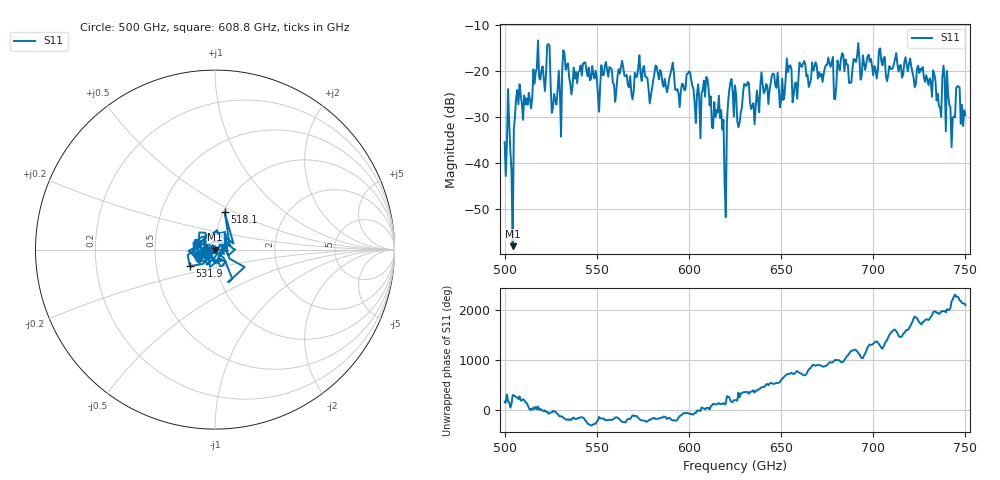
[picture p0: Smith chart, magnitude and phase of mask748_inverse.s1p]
!Created with skrf (http://scikit-rf.org).
# GHz S MA R 50.0
!freq magS11 angS11
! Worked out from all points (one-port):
!   401 points, 500 GHz to 750 GHz, reference 50 ohm
!   lowest |S11| = -58.0 dB at 504.4 GHz (marker M1), VSWR 1.00, Z = 50.1 - j0.107 ohm
!   |S11| at or under -10 dB: start of sweep to end of sweep
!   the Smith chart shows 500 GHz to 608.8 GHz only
!   S11 on the Smith chart (normalised r, x): 500 GHz: 0.97, +0.01; 518.1 GHz: 1.02, +0.44; 531.9 GHz: 0.74, -0.14; 608.8 GHz: 1.11, +0.03
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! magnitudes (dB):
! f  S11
! 500 GHz  -35.4
! 502.5 GHz  -31.4
! 504.4 GHz  -58.0
! 506.9 GHz  -24.1
! 513.8 GHz  -26.2
! 518.1 GHz  -13.4
! 523.8 GHz  -14.2
! 526.9 GHz  -25.0
! 531.2 GHz  -19.6
! 531.9 GHz  -15.5
! 562.5 GHz  -20.6
! 579.4 GHz  -25.4
! 590.6 GHz  -19.5
! 593.8 GHz  -23.9
! 600 GHz  -20.1
! 605 GHz  -22.9
! 608.8 GHz  -25.6
! 617.5 GHz  -28.5
! 619.4 GHz  -44.6
! 622.5 GHz  -22.5
! 625 GHz  -23.1
! 654.4 GHz  -18.9
! 656.2 GHz  -26.8
! 661.2 GHz  -19.1
! 687.5 GHz  -22.6
! 690.6 GHz  -18.1
! 718.8 GHz  -20.1
! 750 GHz  -29.6
